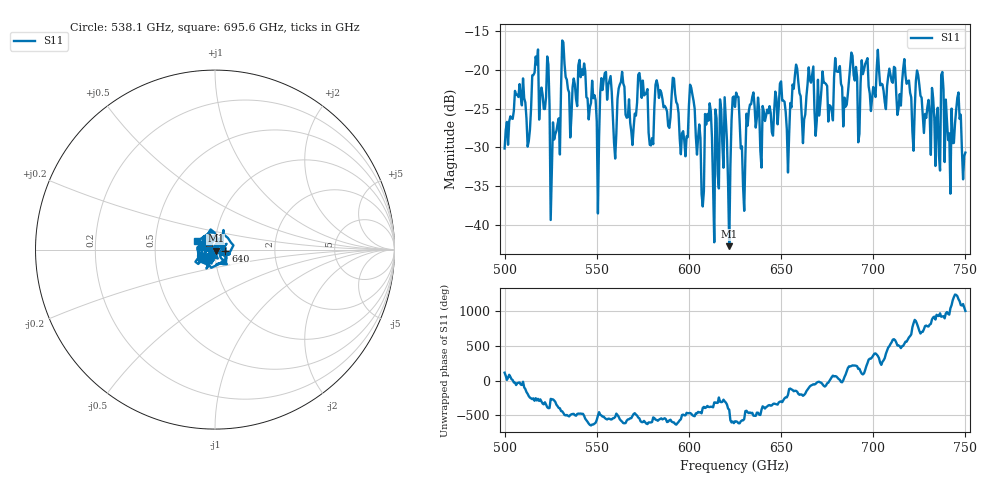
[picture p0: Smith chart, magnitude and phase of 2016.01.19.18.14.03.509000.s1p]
!Created with skrf (http://scikit-rf.org).
# GHz S RI R 50.0
!freq ReS11 ImS11
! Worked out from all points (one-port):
!   401 points, 500 GHz to 750 GHz, reference 50 ohm
!   lowest |S11| = -42.7 dB at 621.9 GHz (marker M1), VSWR 1.01, Z = 50.4 - j0.631 ohm
!   |S11| at or under -10 dB: start of sweep to end of sweep
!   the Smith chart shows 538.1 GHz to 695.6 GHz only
!   S11 on the Smith chart (normalised r, x): 538.1 GHz: 0.89, -0.10; 640 GHz: 1.12, -0.02; 695.6 GHz: 0.82, +0.08
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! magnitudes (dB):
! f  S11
! 500 GHz  -30.1
! 506.9 GHz  -23.2
! 513.1 GHz  -29.2
! 516.9 GHz  -18.3
! 526.2 GHz  -26.8
! 531.2 GHz  -16.3
! 538.1 GHz  -21.9
! 550 GHz  -26.7
! 553.8 GHz  -21.4
! 560 GHz  -31.4
! 562.5 GHz  -21.9
! 569.4 GHz  -29.7
! 573.8 GHz  -21.6
! 579.4 GHz  -29.7
! 583.1 GHz  -22.0
! 593.8 GHz  -24.5
! 621.9 GHz  -42.7
! 625 GHz  -24.8
! 629.4 GHz  -35.0
! 633.8 GHz  -24.5
! 640 GHz  -24.7
! 656.2 GHz  -21.9
! 687.5 GHz  -19.6
! 695.6 GHz  -19.3
! 718.8 GHz  -21.5
! 735 GHz  -24.9
! 746.2 GHz  -22.9
! 750 GHz  -30.7
